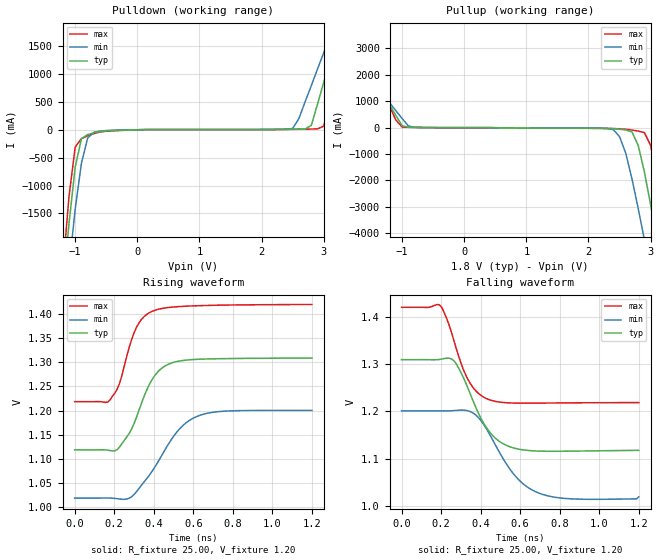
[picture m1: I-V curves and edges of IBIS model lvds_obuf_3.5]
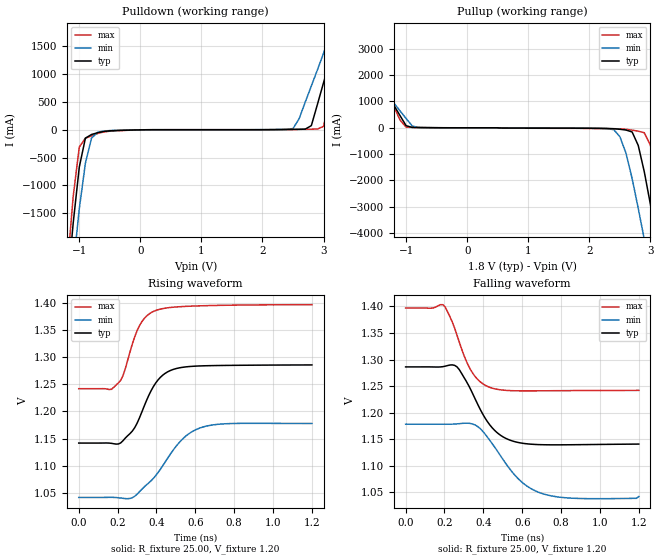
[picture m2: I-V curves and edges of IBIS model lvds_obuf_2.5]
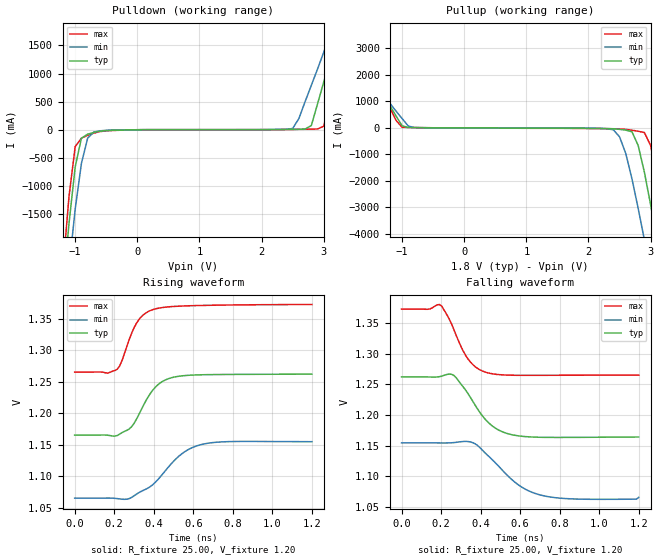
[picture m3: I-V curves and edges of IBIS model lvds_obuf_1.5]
| IBIS file created by TI
[IBIS ver]   3.2
[File name]   lvds_50.ibs
[File Rev]   1.0
[Date]   Dec 06, 2007
[Source]   Data created at TI
[Notes]   GS30 LVDS Driver
[Disclaimer] Please be aware that in the absence of a written agreement,
                 Texas Instruments (TI) assumes no liability for: 1) the
                 accuracy of the IBIS models provided to your company, 2) the
                 proper functioning of these IBIS models in your design or for
                 any resulting applications, or; 3) infringement of patents,
                 copyrights, or intellectual property rights resulting from
                 your use of these IBIS models. TI provides IBIS models as a
                 service to our customers and therefore reserves the right to
                 limit distribution of the IBIS models.
[Copyright]   Property of Texas Instruments Incorporated. Unauthorized
   reproduction and/or distribution is strictly prohibited. This
   product is protected under copyright law and trade secret law
   as an unpublished work. Copyright (C) 2003, Texas Instruments
   Incorporated, all rights reserved. These commodities are under
   the U.S. Government distribution license control. As such,
   they are not to be re-exported without the prior approval of
   the U.S. Department of Commerce.
|   Component ADS5281IPFP
[Component]   ADS5281IPFP
[Manufacturer]   Texas Instruments.
[Package]
| variable   typ   min   max
R_pkg   0.5   NA   NA
L_pkg   5.00nH   NA   NA
C_pkg   2.00pF   NA   NA
[Pin]  signal_name   model_name   R_pin   L_pin   C_pin
LOUTP  LOUTP   OPERATIONAL_MODE
LOUTM  LOUTM   OPERATIONAL_MODE
| IN   IN   dummy
SLVDD  SLVDD   POWER
LVSS   LVSS   GND
[Diff Pin]   inv_pin   vdiff   tdelay_typ   tdelay_min   tdelay_max
 LOUTP  LOUTM   350mV   0   0   0
|   Component ADS528XIRGC
[Component]   ADS528XIRGC
[Manufacturer]   Texas Instruments.
[Package]
| variable   typ   min   max
R_pkg   0.5   NA   NA
L_pkg   2.00nH   NA   NA
C_pkg   0.3pF   NA   NA
[Pin]  signal_name   model_name   R_pin   L_pin   C_pin
LOUTP  LOUTP   OPERATIONAL_MODE
LOUTM  LOUTM   OPERATIONAL_MODE
| IN   IN   dummy
SLVDD  SLVDD   POWER
LVSS   LVSS   GND
[Diff Pin]   inv_pin   vdiff   tdelay_typ   tdelay_min   tdelay_max
 LOUTP  LOUTM   350mV   0   0   0
|   Component AFE5805ZCF
[Component]   AFE5805ZCF
[Manufacturer]   Texas Instruments.
[Package]
| variable   typ   min   max
R_pkg   0.3   NA   NA
L_pkg   5.00nH   NA   NA
C_pkg   1.00pF   NA   NA
[Pin]  signal_name   model_name   R_pin   L_pin   C_pin
LOUTP  LOUTP   OPERATIONAL_MODE
LOUTM  LOUTM   OPERATIONAL_MODE
| IN   IN   dummy
SLVDD  SLVDD   POWER
LVSS   LVSS   GND
[Diff Pin]   inv_pin   vdiff   tdelay_typ   tdelay_min   tdelay_max
 LOUTP  LOUTM   350mV   0   0   0
[Model Selector] OPERATIONAL_MODE
|  Model name   Description
lvds_obuf_3.5   LVDS tri-state buffer with current setting 3.5mA
lvds_obuf_2.5   LVDS tri-state buffer with current setting 2.5mA
lvds_obuf_1.5   LVDS tri-state buffer with current setting 1.5mA
lvds_obuf_0.5   LVDS tri-state buffer with current setting 0.5mA
lvds_obuf_7.5   LVDS tri-state buffer with current setting 7.5mA
lvds_obuf_6.5   LVDS tri-state buffer with current setting 6.5mA
lvds_obuf_5.5   LVDS tri-state buffer with current setting 5.5mA
lvds_obuf_4.5   LVDS tri-state buffer with current setting 4.5mA
| Models and submodels in the file (8): lvds_obuf_3.5 (Output), lvds_obuf_2.5 (Output), lvds_obuf_1.5 (Output), lvds_obuf_0.5 (Output), lvds_obuf_7.5 (Output), lvds_obuf_6.5 (Output), lvds_obuf_5.5 (Output), lvds_obuf_4.5 (Output)
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|   Model lvds_obuf_3.5
[Model]   lvds_obuf_3.5
Model_type   Output
Polarity   Non-Inverting
Vmeas =   1.2000V
C_comp   4.00pF   4.00pF   4.00pF
[Temperature Range]   25.00   0.12k   -40.00
[Voltage Range]   1.80V   1.65V   1.95V
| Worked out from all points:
|   slope of the pulldown table from 0 to 0.27 V, typ, clamps not added: 85.2 ohm
|   slope of the pullup table from 0 to 0.27 V, typ, clamps not added: 20 kohm
|   rising waveform, R_fixture 25.00, V_fixture 1.20: 20-80 % time 121ps typ, 179ps min, 93.4ps max; typ from 1.12 V to 1.31 V
|   falling waveform, R_fixture 25.00, V_fixture 1.20: 20-80 % time 133ps typ, 165ps min, 105ps max; typ from 1.31 V to 1.12 V
[Pulldown]
| voltage   I(typ)   I(min)   I(max)
-1.8V     -11.18A    -11.48A    -11.52A
-1.2V     -2.92A     -3.64A     -2.52A
-1.1V     -1.68A     -2.48A     -1.2A
-1V       -670mA     -1.42A     -310mA
-900mV    -160mA     -600mA     -160mA
-700mV    -54.9mA    -45.67mA   -69.18mA
2.5V      9.13mA     23.94mA    7.19mA
2.8V      76.73mA    790mA      12.88mA
3V        850mA      1.38A      64.1mA
3.2V      1.64A      1.99A      1.04A
3.4V      2.43A      2.86A      2.04A
3.6V      3.25A      7.06A      3.06A
[Pullup]
| voltage   I(typ)   I(min)   I(max)
-1.8V     3.24A      3.32A      3.82A
-1.6V     2.42A      2.15A      2.8A
-1V       77.19mA    350mA      21.7mA
2.4V      -37.55mA   -74.59mA   -34.81mA
2.5V      -57.49mA   -340mA     -41.43mA
2.7V      -160mA     -1.94A     -90.21mA
2.9V      -1.68A     -4.25A     -190mA
3V        -2.92A     -5.48A     -670mA
3.1V      -4.25A     -6.74A     -1.84A
3.2V      -5.61A     -8.01A     -3.24A
3.3V      -6.99A     -9.31A     -4.71A
3.6V      -11.22A    -15.11A    -9.26A
[Ramp]
| variable   typ   min   max
dV/dt_r   0.23/0.13n   0.14/0.17n   0.30/0.11n
dV/dt_f   58.90m/93.02p   57.79m/0.13n   63.13m/70.79p
R_load = 25.00
[Rising Waveform]
R_fixture = 25.00
V_fixture = 1.20
V_fixture_min = 1.10
V_fixture_max = 1.30
| time   V(typ)   V(min)   V(max)
0s        1.119V     1.019V     1.219V
180ps     1.117V     1.019V     1.223V
228ps     1.125V     1.017V     1.257V
276ps     1.153V     1.019V     1.331V
312ps     1.185V     1.032V     1.372V
396ps     1.267V     1.077V     1.406V
444ps     1.289V     1.11V      1.412V
516ps     1.302V     1.155V     1.415V
624ps     1.306V     1.189V     1.417V
1.2ns     1.309V     1.201V     1.42V
[Falling Waveform]
R_fixture = 25.00
V_fixture = 1.20
V_fixture_min = 1.10
V_fixture_max = 1.30
| time   V(typ)   V(min)   V(max)
0s        1.31V      1.201V     1.421V
192ps     1.31V      1.201V     1.426V
228ps     1.313V     1.201V     1.397V
276ps     1.301V     1.202V     1.334V
348ps     1.237V     1.2V       1.259V
432ps     1.164V     1.161V     1.227V
564ps     1.123V     1.069V     1.218V
684ps     1.116V     1.029V     1.218V
864ps     1.116V     1.015V     1.218V
1.2ns     1.117V     1.019V     1.219V
|   Model lvds_obuf_2.5
[Model]   lvds_obuf_2.5
Model_type   Output
Polarity   Non-Inverting
Vmeas =   1.2000V
C_comp   4.00pF   4.00pF   4.00pF
[Temperature Range]   25.00   0.12k   -40.00
[Voltage Range]   1.80V   1.65V   1.95V
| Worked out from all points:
|   slope of the pulldown table from 0 to 0.27 V, typ, clamps not added: 119 ohm
|   slope of the pullup table from 0 to 0.27 V, typ, clamps not added: 20 kohm
|   rising waveform, R_fixture 25.00, V_fixture 1.20: 20-80 % time 117ps typ, 177ps min, 91.5ps max; typ from 1.14 V to 1.29 V
|   falling waveform, R_fixture 25.00, V_fixture 1.20: 20-80 % time 134ps typ, 171ps min, 103ps max; typ from 1.29 V to 1.14 V
[Pulldown]
| voltage   I(typ)   I(min)   I(max)
-1.8V     -11.16A    -11.47A    -11.5A
-1.2V     -2.91A     -3.64A     -2.52A
-1.1V     -1.68A     -2.48A     -1.2A
-1V       -670mA     -1.42A     -310mA
-900mV    -150mA     -600mA     -150mA
-700mV    -52.18mA   -43.74mA   -66.09mA
2.5V      8.2mA      23.01mA    6.25mA
2.8V      75.8mA     790mA      11.95mA
3V        850mA      1.38A      63.16mA
3.2V      1.63A      1.99A      1.04A
3.4V      2.43A      2.86A      2.04A
3.6V      3.25A      7.06A      3.06A
[Pullup]
| voltage   I(typ)   I(min)   I(max)
-1.8V     3.24A      3.32A      3.82A
-1.6V     2.42A      2.15A      2.8A
-1V       77.13mA    350mA      21.58mA
2.4V      -37.95mA   -74.56mA   -35.2mA
2.5V      -57.86mA   -340mA     -41.82mA
2.7V      -160mA     -1.93A     -90.56mA
2.9V      -1.68A     -4.25A     -190mA
3V        -2.92A     -5.48A     -670mA
3.1V      -4.24A     -6.73A     -1.83A
3.2V      -5.6A      -8A        -3.23A
3.3V      -6.97A     -9.3A      -4.7A
3.6V      -11.2A     -15.11A    -9.23A
[Ramp]
| variable   typ   min   max
dV/dt_r   0.22/0.13n   0.14/0.16n   0.30/0.11n
dV/dt_f   44.62m/88.04p   43.15m/0.13n   48.76m/64.36p
R_load = 25.00
[Rising Waveform]
R_fixture = 25.00
V_fixture = 1.20
V_fixture_min = 1.10
V_fixture_max = 1.30
| time   V(typ)   V(min)   V(max)
0s        1.142V     1.042V     1.242V
168ps     1.141V     1.042V     1.241V
204ps     1.14V      1.041V     1.252V
228ps     1.146V     1.04V      1.266V
312ps     1.188V     1.052V     1.357V
396ps     1.252V     1.082V     1.386V
456ps     1.273V     1.113V     1.39V
528ps     1.281V     1.147V     1.393V
624ps     1.284V     1.17V      1.394V
1.2ns     1.286V     1.178V     1.396V
[Falling Waveform]
R_fixture = 25.00
V_fixture = 1.20
V_fixture_min = 1.10
V_fixture_max = 1.30
| time   V(typ)   V(min)   V(max)
0s        1.286V     1.178V     1.397V
192ps     1.287V     1.178V     1.403V
240ps     1.29V      1.178V     1.371V
276ps     1.281V     1.179V     1.333V
348ps     1.234V     1.178V     1.273V
432ps     1.178V     1.148V     1.248V
576ps     1.144V     1.077V     1.241V
684ps     1.14V      1.05V      1.241V
864ps     1.14V      1.039V     1.242V
1.2ns     1.141V     1.042V     1.242V
|   Model lvds_obuf_1.5
[Model]   lvds_obuf_1.5
Model_type   Output
Polarity   Non-Inverting
Vmeas =   1.2000V
C_comp   4.00pF   4.00pF   4.00pF
[Temperature Range]   25.00   0.12k   -40.00
[Voltage Range]   1.80V   1.65V   1.95V
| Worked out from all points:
|   slope of the pulldown table from 0 to 0.27 V, typ, clamps not added: 196 ohm
|   slope of the pullup table from 0 to 0.27 V, typ, clamps not added: 20 kohm
|   rising waveform, R_fixture 25.00, V_fixture 1.20: 20-80 % time 111ps typ, 167ps min, 88.7ps max; typ from 1.17 V to 1.26 V
|   falling waveform, R_fixture 25.00, V_fixture 1.20: 20-80 % time 133ps typ, 176ps min, 98.8ps max; typ from 1.26 V to 1.16 V
[Pulldown]
| voltage   I(typ)   I(min)   I(max)
-1.8V     -11.14A    -11.47A    -11.48A
-1.2V     -2.91A     -3.63A     -2.51A
-1.1V     -1.67A     -2.47A     -1.19A
-1V       -660mA     -1.41A     -300mA
-900mV    -150mA     -600mA     -150mA
-800mV    -79mA      -150mA     -100mA
2.5V      7.27mA     22.08mA    5.32mA
2.8V      74.87mA    790mA      11.01mA
3V        850mA      1.38A      62.23mA
3.3V      2.03A      2.34A      1.54A
3.4V      2.43A      2.86A      2.04A
3.6V      3.25A      7.06A      3.06A
[Pullup]
| voltage   I(typ)   I(min)   I(max)
-1.8V     3.24A      3.32A      3.82A
-1.6V     2.42A      2.15A      2.8A
-1V       77.07mA    350mA      21.45mA
2.4V      -37.82mA   -74.2mA    -34.96mA
2.5V      -57.7mA    -340mA     -41.56mA
2.7V      -150mA     -1.93A     -90.25mA
2.9V      -1.68A     -4.24A     -180mA
3V        -2.91A     -5.47A     -670mA
3.1V      -4.23A     -6.72A     -1.83A
3.2V      -5.58A     -7.99A     -3.23A
3.3V      -6.96A     -9.29A     -4.69A
3.6V      -11.18A    -15.1A     -9.21A
[Ramp]
| variable   typ   min   max
dV/dt_r   0.21/0.13n   0.13/0.16n   0.29/0.11n
dV/dt_f   30.40m/80.77p   28.24m/0.12n   34.20m/55.30p
R_load = 25.00
[Rising Waveform]
R_fixture = 25.00
V_fixture = 1.20
V_fixture_min = 1.10
V_fixture_max = 1.30
| time   V(typ)   V(min)   V(max)
0s        1.165V     1.065V     1.265V
168ps     1.165V     1.065V     1.263V
216ps     1.165V     1.064V     1.27V
276ps     1.175V     1.064V     1.317V
312ps     1.19V      1.071V     1.342V
348ps     1.212V     1.078V     1.356V
408ps     1.241V     1.09V      1.365V
528ps     1.259V     1.132V     1.37V
636ps     1.261V     1.15V      1.371V
1.2ns     1.262V     1.155V     1.372V
[Falling Waveform]
R_fixture = 25.00
V_fixture = 1.20
V_fixture_min = 1.10
V_fixture_max = 1.30
| time   V(typ)   V(min)   V(max)
0s        1.262V     1.155V     1.373V
132ps     1.262V     1.155V     1.372V
192ps     1.263V     1.155V     1.38V
264ps     1.265V     1.155V     1.34V
336ps     1.235V     1.157V     1.292V
432ps     1.19V      1.135V     1.269V
528ps     1.171V     1.104V     1.265V
696ps     1.164V     1.07V      1.265V
888ps     1.164V     1.063V     1.265V
1.2ns     1.164V     1.066V     1.265V
